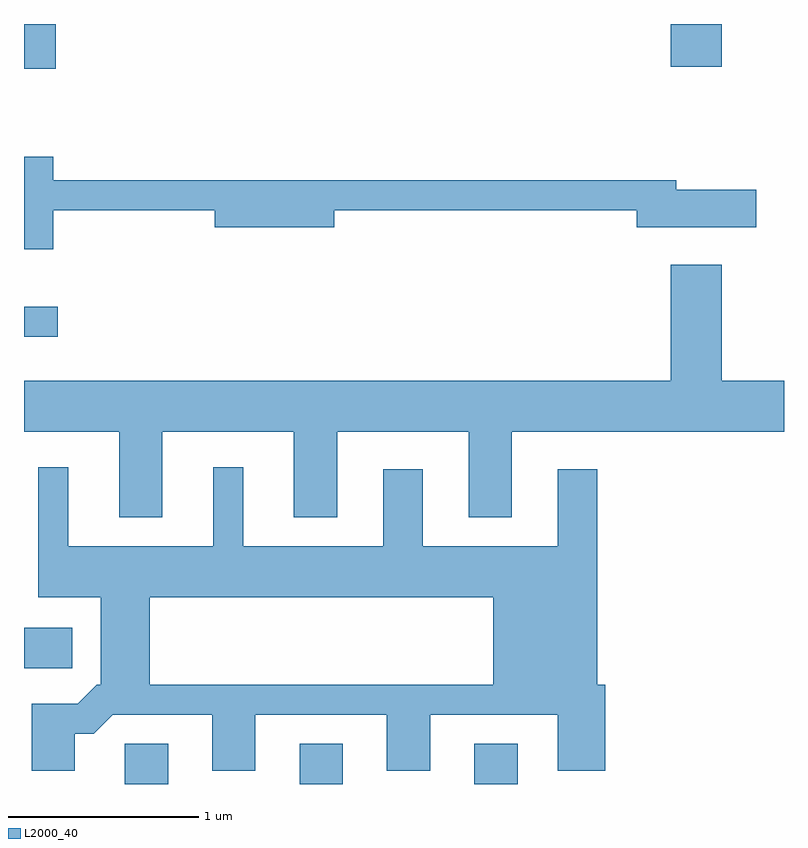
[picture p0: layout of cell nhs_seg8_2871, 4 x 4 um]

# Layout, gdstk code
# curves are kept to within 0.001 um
import gdstk
lib = gdstk.Library(unit=1e-6, precision=1e-09)
def R(c, l, rs):  # rectangles x0, y0, x1, y1
    for r in rs: c.add(gdstk.rectangle(r[:2], r[2:], *l))
def A(c, l, x, y, w, h, nx, ny, dx, dy):  # array of equal rectangles
    R(c, l, [(x+i*dx, y+j*dy, x+i*dx+w, y+j*dy+h) for i in range(nx) for j in range(ny)])
def P(c, l, *ps):  # polygons
    for p in ps: c.add(gdstk.Polygon(p, *l))
L2000_40 = (2000, 40)

nhs_seg8_2871 = lib.new_cell('nhs_seg8_2871')
A(nhs_seg8_2871, L2000_40, 272.141, 1832.342, 0.228, 0.212, 3, 1, 0.92, 0)
R(nhs_seg8_2871, L2000_40, [(271.611,1832.951,271.864,1833.164), (271.611,1834.696,271.788,1834.854), (271.611,1836.106,271.779,1836.342), (275.016,1836.116,275.284,1836.342)])
P(nhs_seg8_2871, L2000_40, [(271.764,1835.361),(272.616,1835.361),(272.616,1835.271),(273.244,1835.271),(273.244,1835.361),(274.836,1835.361),(274.836,1835.271),(275.464,1835.271),(275.464,1835.469),(275.044,1835.469),(275.044,1835.519),(271.764,1835.519),(271.764,1835.644),(271.611,1835.644),(271.611,1835.156),(271.764,1835.156)],
  [(272.339,1834.196),(273.031,1834.196),(273.031,1833.746),(273.259,1833.746),(273.259,1834.196),(273.951,1834.196),(273.951,1833.746),(274.179,1833.746),(274.179,1834.196),(275.611,1834.196),(275.611,1834.464),(275.284,1834.464),(275.284,1835.074),(275.016,1835.074),(275.016,1834.464),(271.611,1834.464),(271.611,1834.196),(272.111,1834.196),(272.111,1833.746),(272.339,1833.746)],
  [(271.879,1832.606),(271.977,1832.606),(272.077,1832.706),(272.601,1832.706),(272.601,1832.411),(272.829,1832.411),(272.829,1832.706),(273.521,1832.706),(273.521,1832.411),(273.749,1832.411),(273.749,1832.706),(274.421,1832.706),(274.421,1832.411),(274.669,1832.411),(274.669,1832.864),(274.629,1832.864),(274.629,1833.999),(274.421,1833.999),(274.421,1833.594),(273.709,1833.594),(273.709,1833.999),(273.501,1833.999),(273.501,1833.594),(272.764,1833.594),(272.764,1834.008),(272.606,1834.008),(272.606,1833.594),(271.844,1833.594),(271.844,1834.008),(271.686,1834.008),(271.686,1833.326),(272.016,1833.326),(272.016,1832.864),(272.274,1832.864),(272.274,1833.326),(274.081,1833.326),(274.081,1832.864),(271.994,1832.864),(271.894,1832.764),(271.651,1832.764),(271.651,1832.411),(271.879,1832.411)])

lib.write_gds('nhs_seg8_2871.gds')
